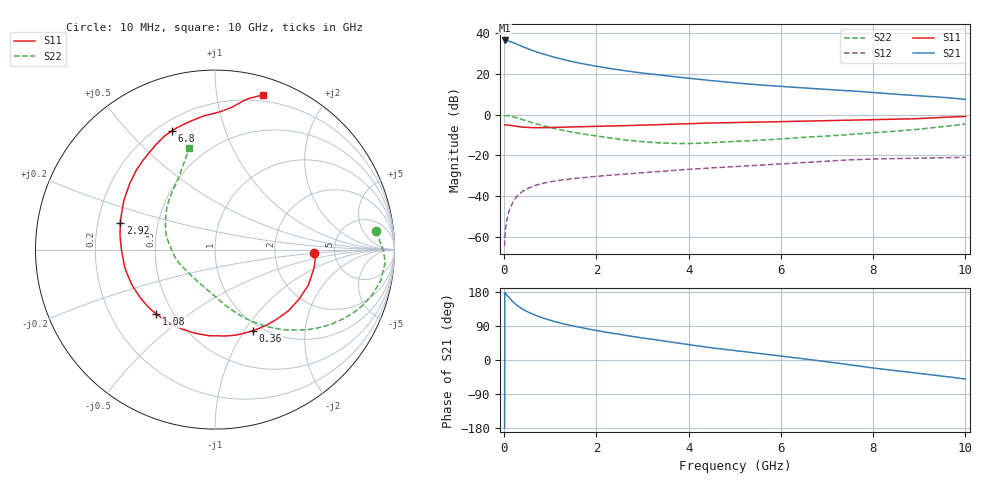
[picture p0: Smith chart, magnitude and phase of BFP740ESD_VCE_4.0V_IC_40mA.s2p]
! Infineon Technologies  Discrete & RF Semiconductors
! BFP740ESD
! VCE =  4.0 V,  IC =  40 mA
! Common Emitter S-Parameters:  Jan 2016
# GHz  S  MA  R  50
!  f  S11  S21  S12  S22
! GHz  MAG  ANG  MAG  ANG  MAG  ANG  MAG  ANG
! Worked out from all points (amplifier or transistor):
!   233 points, 10 MHz to 10 GHz, reference 50 ohm
!   highest |S21| = 36.3 dB at 10 MHz (marker M1)
!   |S21| within 3 dB of that: start of sweep to 398.2 MHz
!   unconditionally stable (mu >= 1): start of sweep to 16.38 MHz; 3.868 GHz to 6.48 GHz
!   at 200 MHz: K = 0.30, MSG = 38.9 dB, |S12| = -42.5 dB
!   at 1.74 GHz: K = 0.75, MSG = 27.8 dB, |S12| = -30.8 dB
!   at 10 GHz: K = 0.70, MSG = 14.2 dB, |S12| = -20.9 dB
!   S11 on the Smith chart (normalised r, x): 10 MHz: 3.48, -0.20; 360 MHz: 0.91, -1.10; 1.08 GHz: 0.40, -0.38; 2.92 GHz: 0.30, +0.13; 6.8 GHz: 0.26, +0.67; 10 GHz: 0.14, +1.35
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0.01  0.5545 -2.1  65.35 -179.7  0.0006 81.8  0.9032 6.5
0.02  0.5617 -4.1  64.59 176.7  0.0012 67.2  0.9378 -0.3
0.1  0.5567 -20.9  63.03 165.4  0.0041 73.2  0.94 -10.4
0.15  0.5437 -30.5  60.59 158.5  0.0057 71.8  0.9135 -15.8
0.2  0.5326 -39.8  57.73 152.4  0.0075 69.7  0.8813 -20.5
0.26  0.5167 -49.7  53.9 146.0  0.0093 67.1  0.8398 -25.3
0.3  0.5096 -56.0  51.64 142.2  0.0105 65.2  0.8125 -28.3
0.36  0.4987 -64.8  48.27 137.3  0.0121 62.8  0.7729 -32.3
0.5  0.4849 -82.9  41.55 127.6  0.0153 57.8  0.6895 -40.1
0.6  0.481 -93.9  37.66 121.8  0.0171 54.7  0.6378 -44.7
0.68  0.4782 -101.7  35.03 118.0  0.0185 52.7  0.6015 -48.0
0.9  0.4814 -120.2  29.19 108.5  0.0215 48.1  0.5168 -56.1
1.08  0.4852 -132.3  25.56 102.1  0.0235 45.6  0.4606 -61.5
1.4  0.4964 -149.4  20.77 92.3  0.0263 42.4  0.3852 -69.9
1.68  0.5046 -160.8  17.83 85.2  0.0284 40.8  0.3388 -75.8
2.2  0.5188 -177.9  13.97 73.5  0.0321 39.0  0.2767 -86.3
2.92  0.548 164.1  10.67 59.6  0.0371 37.3  0.2209 -104.1
3.4  0.5698 154.0  9.199 51.2  0.0407 36.0  0.2033 -117.5
5.1  0.6419 127.8  5.858 23.3  0.0541 29.6  0.2233 -166.7
6.8  0.7028 110.1  4.279 -1.5  0.0704 20.5  0.2901 160.5
8.4  0.7621 89.4  3.21 -26.9  0.0835 5.5  0.3865 130.0
10  0.9033 72.7  2.362 -50.3  0.0897 -7.4  0.5848 104.1
